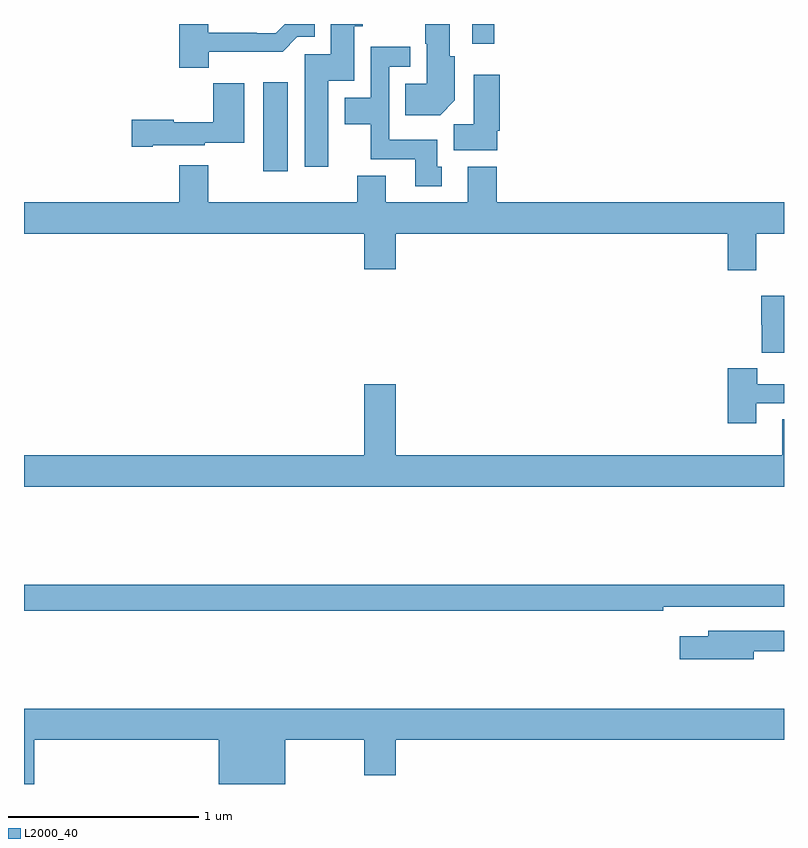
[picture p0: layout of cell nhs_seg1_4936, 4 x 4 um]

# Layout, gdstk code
import gdstk
lib = gdstk.Library(unit=1e-6, precision=1e-09)
def R(c, l, rs):  # rectangles x0, y0, x1, y1
    for r in rs: c.add(gdstk.rectangle(r[:2], r[2:], *l))
def P(c, l, *ps):  # polygons
    for p in ps: c.add(gdstk.Polygon(p, *l))
L2000_40 = (2000, 40)

nhs_seg1_4936 = lib.new_cell('nhs_seg1_4936')
R(nhs_seg1_4936, L2000_40, [(380.258,521.424,380.389,521.893), (381.36,522.096,381.476,522.199)])
P(nhs_seg1_4936, L2000_40, [(380.602,521.9),(380.737,521.9),(380.737,522.187),(380.784,522.187),(380.784,522.199),(380.615,522.199),(380.615,522.039),(380.477,522.039),(380.477,521.448),(380.602,521.448)],
  [(381.268,521.798),(381.268,522.03),(381.241,522.03),(381.241,522.199),(381.113,522.199),(381.113,522.096),(381.119,522.096),(381.119,521.884),(381.007,521.884),(381.007,521.72),(381.19,521.72)],
  [(379.972,522.054),(380.361,522.054),(380.439,522.132),(380.53,522.132),(380.53,522.199),(380.373,522.199),(380.324,522.15),(380.225,522.15),(380.225,522.153),(379.969,522.153),(379.969,522.199),(379.817,522.199),(379.817,521.969),(379.972,521.969)],
  [(381.199,521.448),(381.175,521.448),(381.175,521.59),(380.922,521.59),(380.922,521.973),(381.034,521.973),(381.034,522.079),(380.826,522.079),(380.826,521.812),(380.687,521.812),(380.687,521.672),(380.824,521.672),(380.824,521.486),(381.059,521.486),(381.059,521.346),(381.199,521.346)],
  [(381.49,521.638),(381.503,521.638),(381.503,521.932),(381.368,521.932),(381.368,521.672),(381.263,521.672),(381.263,521.534),(381.49,521.534)],
  [(379.678,521.561),(379.95,521.561),(379.95,521.573),(380.158,521.573),(380.158,521.887),(379.996,521.887),(379.996,521.683),(379.788,521.683),(379.788,521.696),(379.566,521.696),(379.566,521.554),(379.678,521.554)],
  [(382.855,521.096),(383,521.096),(383,521.26),(381.488,521.26),(381.488,521.449),(381.335,521.449),(381.335,521.26),(380.905,521.26),(380.905,521.401),(380.753,521.401),(380.753,521.26),(379.969,521.26),(379.969,521.455),(379.817,521.455),(379.817,521.26),(379,521.26),(379,521.096),(380.792,521.096),(380.792,520.908),(380.956,520.908),(380.956,521.096),(382.703,521.096),(382.703,520.902),(382.855,520.902)],
  [(383,520.77),(382.88,520.77),(382.88,520.617),(382.882,520.617),(382.882,520.469),(383,520.469)],
  [(382.855,520.203),(383,520.203),(383,520.303),(382.858,520.303),(382.858,520.387),(382.703,520.387),(382.703,520.097),(382.855,520.097)],
  [(383,520.118),(382.991,520.118),(382.991,519.928),(380.956,519.928),(380.956,520.303),(380.792,520.303),(380.792,519.928),(379,519.928),(379,519.764),(383,519.764)],
  [(382.364,519.132),(383,519.132),(383,519.248),(379,519.248),(379,519.112),(382.364,519.112)],
  [(382.84,518.898),(383,518.898),(383,519.006),(382.601,519.006),(382.601,518.977),(382.452,518.977),(382.452,518.855),(382.84,518.855)],
  [(379.054,518.432),(380.024,518.432),(380.024,518.199),(380.374,518.199),(380.374,518.432),(380.792,518.432),(380.792,518.244),(380.956,518.244),(380.956,518.432),(383,518.432),(383,518.596),(379,518.596),(379,518.199),(379.054,518.199)])

lib.write_gds('nhs_seg1_4936.gds')
